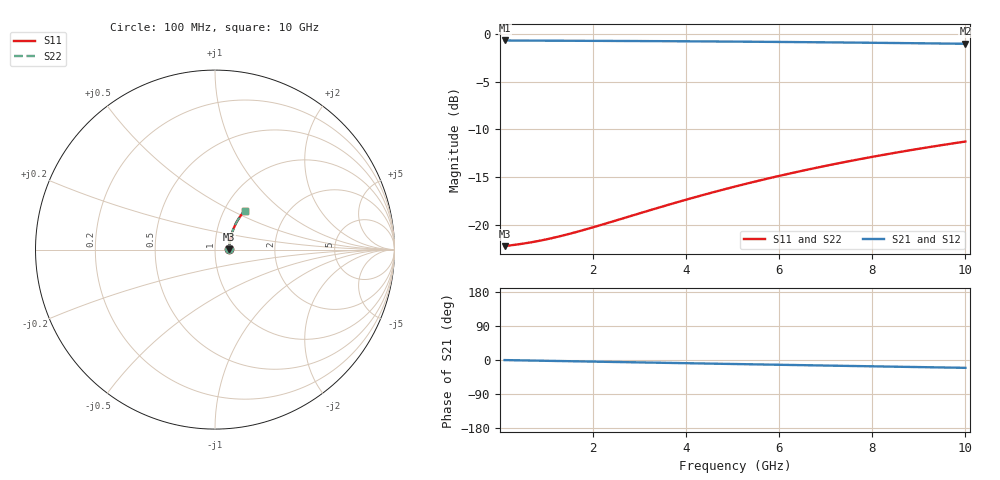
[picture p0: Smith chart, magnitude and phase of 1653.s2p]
# Hz S RI R 50.00
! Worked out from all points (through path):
!   100 points, 100 MHz to 10 GHz, reference 50 ohm
!   highest |S21| = -0.70 dB at 100 MHz (marker M1); lowest = -1.0 dB at 10 GHz (marker M2)
!   group delay of S21, straight-line fit = 5.75 ps
!   lowest |S11| = -22.3 dB at 100 MHz (marker M3), VSWR 1.17, Z = 58.4 + j0.289 ohm
!   |S11| at or under -10 dB: start of sweep to end of sweep
!   |S22| runs from -22.3 to -11.3 dB; largest |S21 - S12| = 0
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1e8  0.0771 0.00246  0.9229 -0.00342  0.9229 -0.00342  0.0771 0.00246
5e8  0.0786 0.0122  0.9214 -0.0171  0.9214 -0.0171  0.0786 0.0122
7e8  0.0792 0.0171  0.9207 -0.0239  0.9207 -0.0239  0.0792 0.0171
9e8  0.0798 0.022  0.9201 -0.0306  0.9201 -0.0306  0.0798 0.022
1.1e9  0.0805 0.0268  0.9195 -0.0374  0.9195 -0.0374  0.0805 0.0268
1.3e9  0.0811 0.0317  0.9188 -0.0442  0.9188 -0.0442  0.0811 0.0317
1.5e9  0.0818 0.0365  0.9181 -0.0509  0.9181 -0.0509  0.0818 0.0365
1.8e9  0.083 0.0438  0.9168 -0.061  0.9168 -0.061  0.083 0.0438
2.3e9  0.0852 0.0557  0.9145 -0.0778  0.9145 -0.0778  0.0852 0.0557
3.4e9  0.0914 0.0816  0.908 -0.1143  0.908 -0.1143  0.0914 0.0816
3.9e9  0.0949 0.0932  0.9044 -0.1307  0.9044 -0.1307  0.0949 0.0932
4.3e9  0.0979 0.1023  0.9012 -0.1437  0.9012 -0.1437  0.0979 0.1023
4.7e9  0.1012 0.1114  0.8977 -0.1566  0.8977 -0.1566  0.1012 0.1114
5.1e9  0.1047 0.1203  0.894 -0.1693  0.894 -0.1693  0.1047 0.1203
5.5e9  0.1085 0.129  0.89 -0.1819  0.89 -0.1819  0.1085 0.129
5.9e9  0.1125 0.1376  0.8858 -0.1944  0.8858 -0.1944  0.1125 0.1376
6.7e9  0.1212 0.1545  0.8766 -0.219  0.8766 -0.219  0.1212 0.1545
7.5e9  0.1308 0.1706  0.8665 -0.2429  0.8665 -0.2429  0.1308 0.1706
7.9e9  0.1359 0.1784  0.8611 -0.2546  0.8611 -0.2546  0.1359 0.1784
8.4e9  0.1425 0.188  0.854 -0.2689  0.854 -0.2689  0.1425 0.188
9.2e9  0.1538 0.2026  0.8421 -0.2913  0.8421 -0.2913  0.1538 0.2026
1e10  0.1657 0.2165  0.8294 -0.313  0.8294 -0.313  0.1657 0.2165
